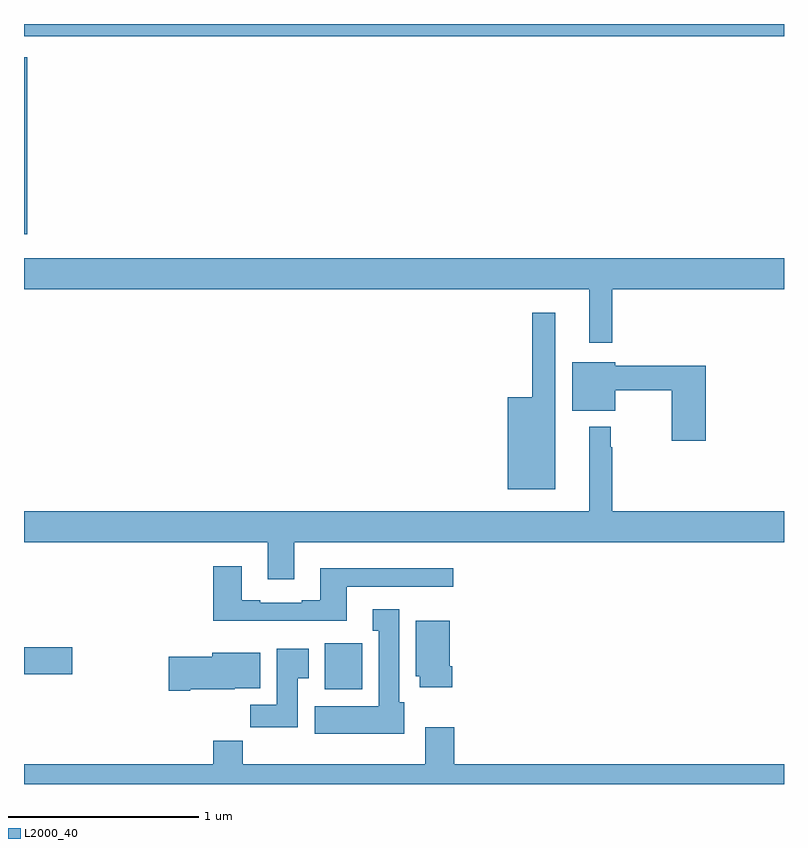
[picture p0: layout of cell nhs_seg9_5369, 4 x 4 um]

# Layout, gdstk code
import gdstk
lib = gdstk.Library(unit=1e-6, precision=1e-09)
def R(c, l, rs):  # rectangles x0, y0, x1, y1
    for r in rs: c.add(gdstk.rectangle(r[:2], r[2:], *l))
def P(c, l, *ps):  # polygons
    for p in ps: c.add(gdstk.Polygon(p, *l))
L2000_40 = (2000, 40)

nhs_seg9_5369 = lib.new_cell('nhs_seg9_5369')
R(nhs_seg9_5369, L2000_40, [(424.583,1176.998,424.78,1177.24), (423,1177.078,423.253,1177.22), (423,1179.393,423.017,1180.324), (423,1180.436,427,1180.5)])
P(nhs_seg9_5369, L2000_40, [(426.097,1179.104),(427,1179.104),(427,1179.268),(423,1179.268),(423,1179.104),(425.975,1179.104),(425.975,1178.823),(426.097,1178.823)],
  [(425.797,1178.98),(425.676,1178.98),(425.676,1178.536),(425.546,1178.536),(425.546,1178.051),(425.797,1178.051)],
  [(426.587,1178.701),(426.112,1178.701),(426.112,1178.719),(425.885,1178.719),(425.885,1178.465),(426.112,1178.465),(426.112,1178.572),(426.409,1178.572),(426.409,1178.307),(426.587,1178.307)],
  [(424.423,1177.772),(427,1177.772),(427,1177.936),(426.097,1177.936),(426.097,1178.273),(426.089,1178.273),(426.089,1178.38),(425.975,1178.38),(425.975,1177.936),(423,1177.936),(423,1177.772),(424.283,1177.772),(424.283,1177.578),(424.423,1177.578)],
  [(424.699,1177.539),(425.26,1177.539),(425.26,1177.636),(424.559,1177.636),(424.559,1177.468),(424.463,1177.468),(424.463,1177.455),(424.243,1177.455),(424.243,1177.468),(424.147,1177.468),(424.147,1177.645),(423.995,1177.645),(423.995,1177.358),(424.699,1177.358)],
  [(425.002,1176.93),(424.975,1176.93),(424.975,1177.42),(424.835,1177.42),(424.835,1177.307),(424.868,1177.307),(424.868,1176.91),(424.529,1176.91),(424.529,1176.764),(425.002,1176.764)],
  [(425.255,1177.12),(425.242,1177.12),(425.242,1177.36),(425.063,1177.36),(425.063,1177.068),(425.084,1177.068),(425.084,1177.008),(425.255,1177.008)],
  [(424.441,1177.057),(424.498,1177.057),(424.498,1177.213),(424.331,1177.213),(424.331,1176.916),(424.192,1176.916),(424.192,1176.798),(424.441,1176.798)],
  [(423.874,1176.998),(424.11,1176.998),(424.11,1177.004),(424.243,1177.004),(424.243,1177.192),(423.992,1177.192),(423.992,1177.169),(423.762,1177.169),(423.762,1176.991),(423.874,1176.991)],
  [(427,1176.604),(425.264,1176.604),(425.264,1176.799),(425.111,1176.799),(425.111,1176.604),(424.151,1176.604),(424.151,1176.728),(423.995,1176.728),(423.995,1176.604),(423,1176.604),(423,1176.5),(427,1176.5)])

lib.write_gds('nhs_seg9_5369.gds')
